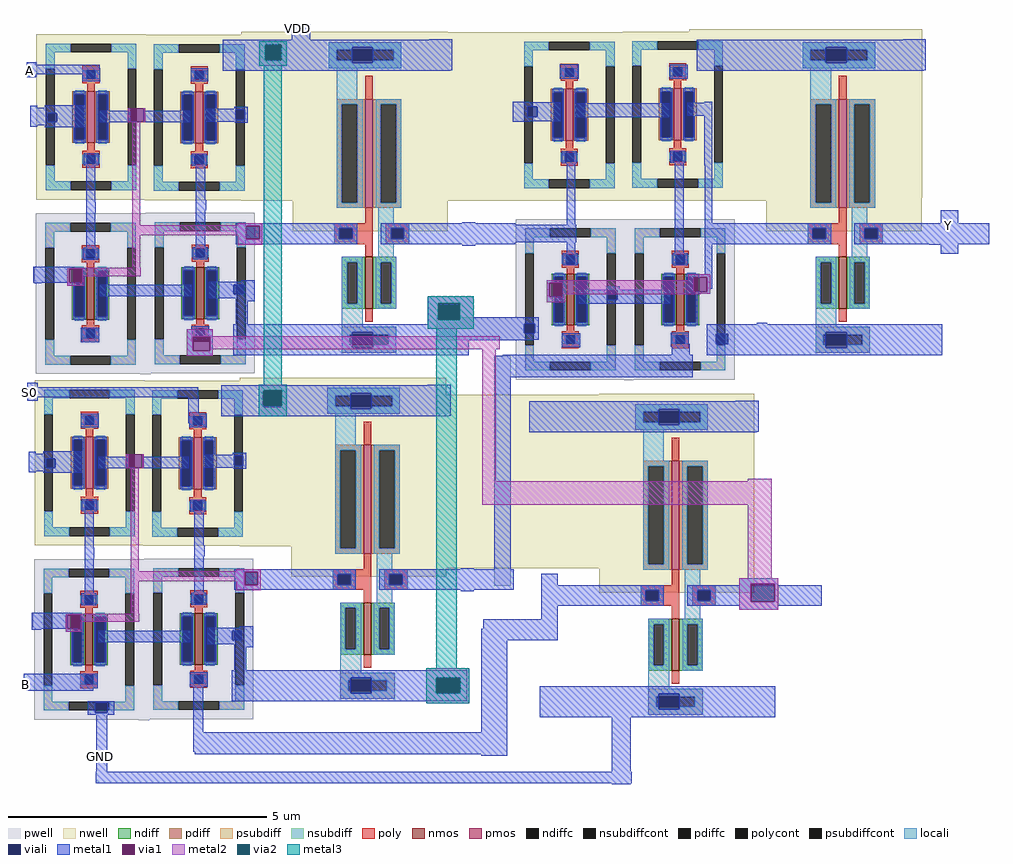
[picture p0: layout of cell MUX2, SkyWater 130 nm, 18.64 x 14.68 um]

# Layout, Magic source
magic
tech sky130A
<< nwell >>
rect 2178 549 2459 874
rect 2182 -161 2609 174
<< pwell >>
rect 2205 280 2402 324
rect 2205 279 2392 280
rect 2316 174 2348 249
rect 2316 -195 2348 -161
rect 1423 -280 1441 -276
<< viali >>
rect 2374 293 2395 311
rect 1546 -440 1569 -421
<< metal1 >>
rect 1925 843 1961 890
rect 1413 811 1432 816
rect 1413 793 1554 811
rect 1413 787 1432 793
rect 2255 475 2282 501
rect 2321 468 2475 502
rect 3179 446 3213 530
rect 1440 389 1442 390
rect 2188 345 2277 364
rect 2188 319 2208 345
rect 2249 324 2277 345
rect 2249 319 2402 324
rect 2188 311 2402 319
rect 2188 301 2374 311
rect 1722 286 1773 300
rect 1722 259 1734 286
rect 1768 259 1773 286
rect 2205 293 2374 301
rect 2395 293 2402 311
rect 2205 280 2402 293
rect 2205 279 2392 280
rect 1722 249 1773 259
rect 2659 251 2694 272
rect 2333 249 2700 251
rect 2316 208 2700 249
rect 1414 188 1435 197
rect 1414 172 1745 188
rect 1414 169 1746 172
rect 1414 162 1435 169
rect 1725 119 1746 169
rect 2316 -195 2348 208
rect 2407 -260 2439 -172
rect 2790 -191 2865 -181
rect 2790 -226 2812 -191
rect 2858 -226 2865 -191
rect 2790 -241 2865 -226
rect 1423 -280 1441 -276
rect 2295 -278 2439 -260
rect 2291 -300 2439 -278
rect 1408 -398 1542 -365
rect 1531 -421 1582 -418
rect 1531 -440 1546 -421
rect 1569 -440 1582 -421
rect 1531 -444 1582 -440
rect 1548 -554 1569 -444
rect 1735 -478 1754 -364
rect 2291 -478 2341 -300
rect 1735 -516 2341 -478
rect 1738 -521 2341 -516
rect 2291 -523 2341 -521
rect 2543 -554 2580 -406
rect 1547 -577 2582 -554
rect 2543 -578 2580 -577
<< via1 >>
rect 1874 820 1905 850
rect 2208 319 2249 345
rect 1734 259 1768 286
rect 1870 151 1905 182
rect 2812 -226 2858 -191
rect 2204 -403 2251 -373
<< metal2 >>
rect 1862 850 1916 857
rect 1862 820 1874 850
rect 1905 820 1916 850
rect 1862 809 1916 820
rect 2188 351 2277 364
rect 2188 319 2208 351
rect 2250 319 2277 351
rect 2188 301 2277 319
rect 1722 287 1773 300
rect 1722 286 2327 287
rect 1722 259 1734 286
rect 1768 262 2327 286
rect 1768 259 1773 262
rect 1722 249 1773 259
rect 1861 183 1916 193
rect 1861 182 1871 183
rect 1861 151 1870 182
rect 1906 153 1916 183
rect 1905 151 1916 153
rect 1861 132 1916 151
rect 2293 7 2319 262
rect 2806 7 2852 12
rect 2293 -39 2852 7
rect 2806 -181 2852 -39
rect 2790 -191 2865 -181
rect 2790 -226 2812 -191
rect 2858 -226 2865 -191
rect 2790 -241 2865 -226
rect 2185 -373 2268 -354
rect 2185 -403 2204 -373
rect 2251 -403 2268 -373
rect 2185 -422 2268 -403
<< via2 >>
rect 1874 820 1905 850
rect 2208 345 2250 351
rect 2208 319 2249 345
rect 2249 319 2250 345
rect 1871 182 1906 183
rect 1871 153 1905 182
rect 1905 153 1906 182
rect 2204 -403 2251 -373
<< metal3 >>
rect 1862 850 1916 857
rect 1862 820 1874 850
rect 1905 820 1916 850
rect 1862 809 1916 820
rect 1871 193 1906 809
rect 2188 351 2277 364
rect 2188 319 2208 351
rect 2250 319 2277 351
rect 2188 301 2277 319
rect 1861 183 1916 193
rect 1861 153 1871 183
rect 1906 153 1916 183
rect 1861 132 1916 153
rect 2204 -354 2244 301
rect 2185 -373 2268 -354
rect 2185 -403 2204 -373
rect 2251 -403 2268 -373
rect 2185 -422 2268 -403
use AND_Gate  AND_Gate_1
transform 1 0 1245 0 1 -114
box 175 327 1112 989
use AND_Gate  AND_Gate_2
transform 1 0 1242 0 1 -782
box 175 327 1112 989
use INV  INV_0
transform 1 0 2669 0 1 -59
box -285 -390 280 235
use OR2  OR2_0
transform 1 0 2013 0 1 -157
box 339 359 1259 1037
<< labels >>
rlabel metal1 1419 800 1419 800 1 A
rlabel metal1 1419 179 1419 179 1 S0
rlabel metal1 1411 -385 1411 -385 1 B
rlabel metal1 1555 -525 1555 -525 1 GND
rlabel metal1 1936 882 1936 882 1 VDD
rlabel metal1 3194 500 3194 500 1 Y
<< end >>

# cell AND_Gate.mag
magic
tech sky130A
<< nwell >>
rect 583 663 920 989
<< pwell >>
rect 183 503 195 534
rect 593 470 608 508
<< metal1 >>
rect 175 806 189 846
rect 284 640 302 660
rect 497 644 515 664
rect 1010 576 1035 621
rect 183 503 195 534
rect 593 503 608 508
rect 572 470 608 503
rect 572 377 595 470
<< via1 >>
rect 592 588 618 614
<< metal2 >>
rect 576 615 623 619
rect 373 614 623 615
rect 373 596 592 614
rect 576 588 592 596
rect 618 588 623 614
rect 576 578 623 588
use INV  INV_0
transform 1 0 832 0 1 754
box -285 -390 280 235
use NAND2_Gate  NAND2_Gate_0
transform 1 0 862 0 1 1794
box -682 -1467 -253 -810
<< labels >>
rlabel metal1 1020 592 1020 592 1 Y
rlabel metal1 181 828 181 828 1 VDD
rlabel metal1 188 518 188 518 1 GND
rlabel metal1 293 650 293 650 1 A
rlabel metal1 503 651 503 651 1 B
<< end >>

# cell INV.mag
magic
tech sky130A
<< nwell >>
rect -150 -150 150 235
<< nmos >>
rect -10 -300 5 -200
<< pmos >>
rect -10 -105 5 105
<< ndiff >>
rect -55 -210 -10 -200
rect -55 -290 -45 -210
rect -25 -290 -10 -210
rect -55 -300 -10 -290
rect 5 -210 50 -200
rect 5 -290 20 -210
rect 40 -290 50 -210
rect 5 -300 50 -290
<< pdiff >>
rect -65 95 -10 105
rect -65 -95 -55 95
rect -25 -95 -10 95
rect -65 -105 -10 -95
rect 5 95 60 105
rect 5 -95 20 95
rect 50 -95 60 95
rect 5 -105 60 -95
<< ndiffc >>
rect -45 -290 -25 -210
rect 20 -290 40 -210
<< pdiffc >>
rect -55 -95 -25 95
rect 20 -95 50 95
<< psubdiff >>
rect -55 -350 50 -335
rect -55 -370 -40 -350
rect 35 -370 50 -350
rect -55 -385 50 -370
<< nsubdiff >>
rect -80 200 60 215
rect -80 180 -65 200
rect 45 180 60 200
rect -80 165 60 180
<< psubdiffcont >>
rect -40 -370 35 -350
<< nsubdiffcont >>
rect -65 180 45 200
<< poly >>
rect -10 105 5 150
rect -10 -135 5 -105
rect -70 -145 5 -135
rect -70 -165 -60 -145
rect -35 -165 5 -145
rect -70 -175 5 -165
rect 30 -145 75 -135
rect 30 -165 40 -145
rect 65 -165 75 -145
rect 30 -175 75 -165
rect -10 -200 5 -175
rect -10 -325 5 -300
<< polycont >>
rect -60 -165 -35 -145
rect 40 -165 65 -145
<< locali >>
rect -80 205 60 215
rect -80 200 -35 205
rect 5 200 60 205
rect -80 180 -65 200
rect 45 180 60 200
rect -80 175 -35 180
rect 5 175 60 180
rect -80 165 60 175
rect -65 105 -25 165
rect -65 95 -15 105
rect -65 -95 -55 95
rect -25 -95 -15 95
rect -65 -105 -15 -95
rect 10 95 60 105
rect 10 -95 20 95
rect 50 -95 60 95
rect 10 -105 60 -95
rect 15 -135 45 -105
rect -70 -145 -25 -135
rect -70 -165 -60 -145
rect -35 -165 -25 -145
rect -70 -175 -25 -165
rect 15 -145 75 -135
rect 15 -165 40 -145
rect 65 -165 75 -145
rect 15 -175 75 -165
rect 15 -200 45 -175
rect -55 -210 -15 -200
rect -55 -290 -45 -210
rect -25 -290 -15 -210
rect -55 -335 -15 -290
rect 10 -210 50 -200
rect 10 -290 20 -210
rect 40 -290 50 -210
rect 10 -300 50 -290
rect -55 -345 50 -335
rect -55 -350 -35 -345
rect 5 -350 50 -345
rect -55 -370 -40 -350
rect 35 -370 50 -350
rect -55 -375 -35 -370
rect 5 -375 50 -370
rect -55 -385 50 -375
<< viali >>
rect -35 200 5 205
rect -35 180 5 200
rect -35 175 5 180
rect -60 -165 -35 -145
rect 40 -165 65 -145
rect -35 -350 5 -345
rect -35 -370 5 -350
rect -35 -375 5 -370
<< metal1 >>
rect 114 220 158 221
rect -285 205 158 220
rect -285 175 -35 205
rect 5 175 158 205
rect -285 161 158 175
rect -285 160 154 161
rect -260 -145 -25 -135
rect -260 -165 -60 -145
rect -35 -165 -25 -145
rect -260 -175 -25 -165
rect 20 -145 280 -135
rect 20 -165 40 -145
rect 65 -165 280 -145
rect 20 -175 280 -165
rect -265 -345 190 -330
rect -265 -375 -35 -345
rect 5 -375 190 -345
rect -265 -390 190 -375
<< labels >>
rlabel metal1 155 196 155 196 1 vdd
rlabel metal1 250 -165 265 -145 1 out
rlabel metal1 175 -360 175 -360 1 vss
rlabel metal1 -240 -165 -225 -145 1 in
<< end >>

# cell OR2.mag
magic
tech sky130A
<< nwell >>
rect 680 724 1130 1037
rect 343 711 1130 724
rect 343 706 843 711
<< viali >>
rect 731 428 755 449
<< metal1 >>
rect 339 858 358 897
rect 449 683 459 702
rect 656 684 666 703
rect 710 683 720 702
rect 1144 621 1175 659
rect 810 407 831 470
use INV  INV_0
transform 1 0 979 0 1 797
box -285 -390 280 235
use NOR2  NOR2_0
transform 1 0 642 0 1 119
box -299 240 126 913
<< labels >>
rlabel metal1 1156 639 1156 639 1 Y
rlabel metal1 818 446 818 446 1 GND
rlabel metal1 347 870 347 870 1 VDD
rlabel metal1 454 690 454 690 1 B
rlabel metal1 661 694 661 694 1 A
<< end >>

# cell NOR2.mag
magic
tech sky130A
magscale 1 2
<< nwell >>
rect 134 1552 164 1556
rect 68 1502 164 1552
rect 134 1310 164 1502
<< pwell >>
rect -244 788 -192 842
rect -176 480 -140 1100
<< viali >>
rect -548 1498 -512 1536
rect -238 790 -202 828
<< metal1 >>
rect -424 1644 -350 1700
rect 0 1644 70 1698
rect -584 1554 -542 1556
rect -584 1536 -420 1554
rect 134 1552 164 1556
rect -584 1498 -548 1536
rect -512 1498 -420 1536
rect -584 1480 -420 1498
rect -358 1496 -2 1550
rect 68 1502 164 1552
rect -584 1478 -542 1480
rect -398 934 -364 1358
rect 20 936 54 1360
rect 134 1310 164 1502
rect 136 890 164 1310
rect 72 878 164 890
rect -474 856 -404 866
rect -474 802 -464 856
rect -412 802 -404 856
rect -244 830 -192 842
rect -474 782 -404 802
rect -350 828 2 830
rect -350 790 -238 828
rect -202 790 2 828
rect 72 822 94 878
rect 146 834 164 878
rect 146 822 158 834
rect 72 814 158 822
rect -350 776 2 790
rect -416 608 -346 662
rect 4 610 74 664
<< via1 >>
rect -464 802 -412 856
rect 94 822 146 878
<< metal2 >>
rect 72 878 158 890
rect 72 866 94 878
rect -474 856 94 866
rect -474 802 -464 856
rect -412 822 94 856
rect 146 822 158 878
rect -412 814 158 822
rect -412 812 118 814
rect -412 802 -404 812
rect -474 782 -404 802
use sky130_fd_pr__pfet_01v8_XGS3BL  XM7
transform 1 0 -387 0 1 1505
box -211 -319 211 319
use sky130_fd_pr__nfet_01v8_648S5X  XM8
transform 1 0 -383 0 1 792
box -211 -310 211 310
use sky130_fd_pr__pfet_01v8_XGS3BL  XM9
transform 1 0 31 0 1 1507
box -211 -319 211 319
use sky130_fd_pr__nfet_01v8_648S5X  XM10
transform 1 0 41 0 1 792
box -211 -310 211 310
<< labels >>
rlabel metal1 -574 1520 -574 1520 1 VDD
rlabel metal1 142 1142 142 1142 1 Y
rlabel metal1 -174 782 -174 782 1 GND
rlabel metal1 -386 1150 -386 1150 1 B
rlabel metal1 32 1150 32 1150 1 A
<< end >>

# cell sky130_fd_pr__pfet_01v8_XGS3BL: kit device sky130_fd_pr__pfet_01v8, w 1.0 l 0.15 m 1 nf 1 diffcov 100 polycov 100 guard 1 glc 1 grc 1 gtc 1 gbc 1 tbcov 100 rlcov 100 topc 1 botc 1 poverlap 0 doverlap 1 lmin 0.15 wmin 0.42 compatible {sky130_fd_pr__pfet_01v8 sky130_fd_pr__pfet_01v8_lvt sky130_fd_pr__pfet_01v8_hvt sky130_fd_pr__pfet_g5v0d10v5} full_metal 1 viasrc 100 viadrn 100 viagate 100 viagb 0 viagr 0 viagl 0 viagt 0

# cell sky130_fd_pr__nfet_01v8_648S5X: kit device sky130_fd_pr__nfet_01v8, w 1.0 l 0.15 m 1 nf 1 diffcov 100 polycov 100 guard 1 glc 1 grc 1 gtc 1 gbc 1 tbcov 100 rlcov 100 topc 1 botc 1 poverlap 0 doverlap 1 lmin 0.15 wmin 0.42 compatible {sky130_fd_pr__nfet_01v8 sky130_fd_pr__nfet_01v8_lvt sky130_fd_bs_flash__special_sonosfet_star sky130_fd_pr__nfet_g5v0d10v5 sky130_fd_pr__nfet_05v0_nvt sky130_fd_pr__nfet_03v3_nvt} full_metal 1 viasrc 100 viadrn 100 viagate 100 viagb 0 viagr 0 viagl 0 viagt 0

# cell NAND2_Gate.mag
magic
tech sky130A
magscale 1 2
<< nwell >>
rect -586 -1908 -534 -1900
rect -694 -1958 -534 -1908
rect -584 -1962 -534 -1958
<< pwell >>
rect -948 -2934 -908 -2312
rect -558 -2652 -506 -2570
<< viali >>
rect -1306 -1958 -1272 -1924
rect -580 -1950 -546 -1912
rect -588 -2624 -550 -2588
<< metal1 >>
rect -1172 -1802 -1104 -1750
rect -754 -1802 -686 -1750
rect -1318 -1904 -1168 -1894
rect -1364 -1924 -1168 -1904
rect -998 -1916 -988 -1906
rect -1364 -1958 -1306 -1924
rect -1272 -1958 -1168 -1924
rect -1364 -1972 -1168 -1958
rect -1106 -1958 -988 -1916
rect -936 -1916 -930 -1906
rect -586 -1908 -534 -1900
rect -694 -1912 -534 -1908
rect -936 -1958 -756 -1916
rect -694 -1950 -580 -1912
rect -546 -1950 -534 -1912
rect -694 -1958 -534 -1950
rect -1106 -1960 -756 -1958
rect -584 -1962 -534 -1958
rect -1318 -1978 -1168 -1972
rect -1158 -2480 -1122 -2088
rect -734 -2478 -698 -2086
rect -1362 -2524 -1204 -2518
rect -1362 -2526 -1166 -2524
rect -1362 -2580 -1224 -2526
rect -1172 -2580 -1166 -2526
rect -558 -2576 -506 -2570
rect -1230 -2592 -1166 -2580
rect -684 -2588 -506 -2576
rect -1106 -2632 -750 -2588
rect -684 -2624 -588 -2588
rect -550 -2624 -506 -2588
rect -684 -2640 -506 -2624
rect -558 -2652 -506 -2640
rect -1178 -2810 -1108 -2754
rect -752 -2804 -682 -2748
<< via1 >>
rect -988 -1958 -936 -1906
rect -1224 -2580 -1172 -2526
<< metal2 >>
rect -998 -1958 -988 -1906
rect -936 -1958 -930 -1906
rect -998 -1960 -930 -1958
rect -980 -2522 -948 -1960
rect -1206 -2524 -946 -2522
rect -1230 -2526 -946 -2524
rect -1230 -2580 -1224 -2526
rect -1172 -2554 -946 -2526
rect -1172 -2580 -1166 -2554
rect -1230 -2592 -1166 -2580
use sky130_fd_pr__nfet_01v8_648S5X  XM1
transform 1 0 -1141 0 1 -2622
box -211 -310 211 310
use sky130_fd_pr__nfet_01v8_648S5X  XM2
transform 1 0 -717 0 1 -2620
box -211 -310 211 310
use sky130_fd_pr__pfet_01v8_XGS3BL  XM3
transform 1 0 -1139 0 1 -1939
box -211 -319 211 319
use sky130_fd_pr__pfet_01v8_XGS3BL  XM4
transform 1 0 -721 0 1 -1941
box -211 -319 211 319
<< labels >>
rlabel metal1 -1338 -2556 -1338 -2556 1 Y
rlabel metal1 -522 -2608 -522 -2608 1 GND
rlabel metal1 -1356 -1934 -1356 -1934 1 VDD
rlabel metal1 -722 -2284 -722 -2284 1 B
rlabel metal1 -1146 -2290 -1146 -2290 1 A
<< end >>
